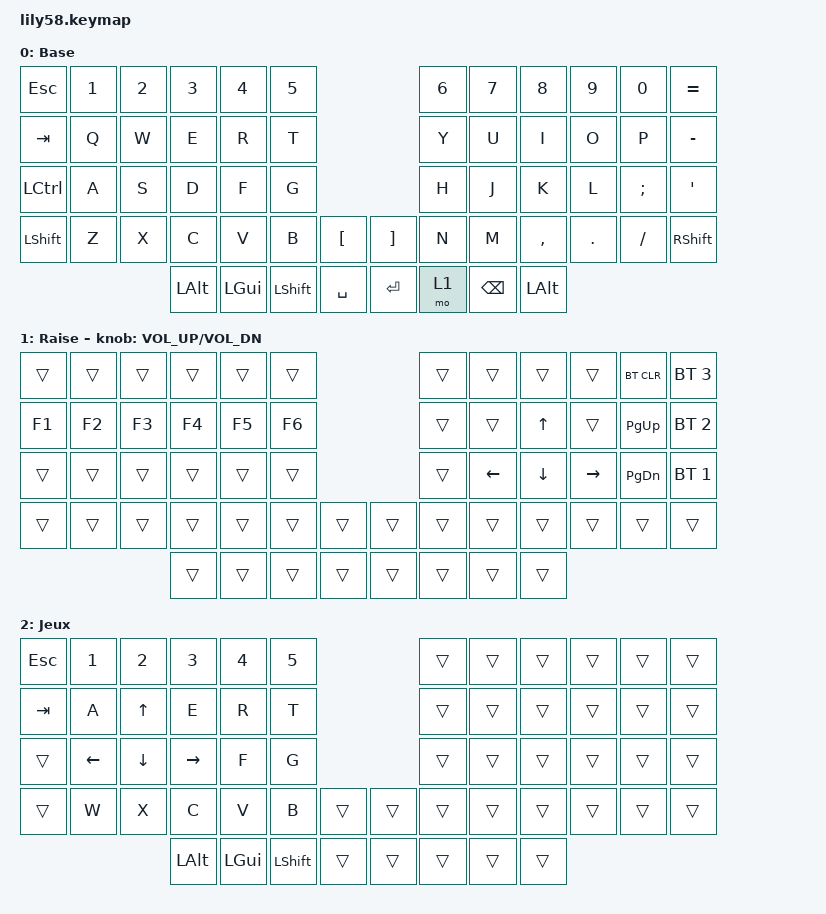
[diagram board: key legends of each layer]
/*
 * Copyright (c) 2020 The ZMK Contributors
 *
 * SPDX-License-Identifier: MIT
 */

#include <behaviors.dtsi>
#include <dt-bindings/zmk/bt.h>
#include <dt-bindings/zmk/keys.h>

/ {
    combos {
        compatible = "zmk,combos";

        Desactivedefaut {
            bindings = <&tog 0>;
            key-positions = <56 55 57>;
        };

        Activejeux {
            bindings = <&tog 2>;
            key-positions = <57 56 55 54>;
        };
    };

    behaviors {
        Nav: Nav {
            compatible = "zmk,behavior-tap-dance";
            label = "NAV";
            #binding-cells = <0>;
            bindings = <&kp LEFT_SHIFT>, <&sl 1>;

            tapping-term-ms = <200>;
        };
    };

    keymap {
        compatible = "zmk,keymap";

        default_layer {
            // ------------------------------------------------------------------------------------------------------------
            // |  ESC  |  1  |  2  |  3   |  4   |  5   |                   |  6   |  7    |  8    |  9   |   0   |   `   |
            // |  TAB  |  Q  |  W  |  E   |  R   |  T   |                   |  Y   |  U    |  I    |  O   |   P   |   -   |
            // |  CTRL |  A  |  S  |  D   |  F   |  G   |                   |  H   |  J    |  K    |  L   |   ;   |   '   |
            // | SHIFT |  Z  |  X  |  C   |  V   |  B   |   "["  |  |  "]"  |  N   |  M    |  ,    |  .   |   /   | SHIFT |
            //                     | ALT  | GUI  | LOWER|  SPACE |  | ENTER | RAISE| BSPC  | GUI   |

            display-name = "Base";
            bindings = <
&kp ESC           &kp N1  &kp N2  &kp N3        &kp N4    &kp N5                                 &kp N6  &kp N7    &kp N8        &kp N9   &kp N0    &kp EQUAL
&kp TAB           &kp Q   &kp W   &kp E         &kp R     &kp T                                  &kp Y   &kp U     &kp I         &kp O    &kp P     &kp MINUS
&kp LEFT_CONTROL  &kp A   &kp S   &kp D         &kp F     &kp G                                  &kp H   &kp J     &kp K         &kp L    &kp SEMI  &kp SQT
&kp LEFT_SHIFT    &kp Z   &kp X   &kp C         &kp V     &kp B           &kp LBKT     &kp RBKT  &kp N   &kp M     &kp COMMA     &kp DOT  &kp FSLH  &kp RSHFT
                                  &kp LEFT_ALT  &kp LGUI  &kp LEFT_SHIFT  &kp SPACE    &kp RET   &mo 1   &kp BSPC  &kp LEFT_ALT
            >;
        };

        raise_layer {
            // ------------------------------------------------------------------------------------------------------------
            // |       |     |     |      |      |      |                   |      |       |       |      |       |       |
            // |   `   |  1  |  2  |  3   |  4   |  5   |                   |  6   |   7   |   8   |  9   |   0   |       |
            // |   F1  |  F2 |  F3 |  F4  |  F5  |  F6  |                   |      |   <-  |   v   |  ^   |  ->   |       |
            // |   F7  |  F8 |  F9 |  F10 |  F11 |  F12 |        |  |       |  +   |   -   |   =   |  [   |   ]   |   \   |
            //                     |      |      |      |        |  |       |      |       |       |

            display-name = "Raise";
            bindings = <
&trans  &trans  &trans  &trans  &trans  &trans                    &trans  &trans    &trans        &trans           &bt BT_CLR     &bt BT_SEL 3
&kp F1  &kp F2  &kp F3  &kp F4  &kp F5  &kp F6                    &trans  &trans    &kp UP_ARROW  &trans           &kp PAGE_UP    &bt BT_SEL 2
&trans  &trans  &trans  &trans  &trans  &trans                    &trans  &kp LEFT  &kp DOWN      &kp RIGHT_ARROW  &kp PAGE_DOWN  &bt BT_SEL 1
&trans  &trans  &trans  &trans  &trans  &trans  &trans    &trans  &trans  &trans    &trans        &trans           &trans         &trans
                        &trans  &trans  &trans  &trans    &trans  &trans  &trans    &trans
            >;

            sensor-bindings = <&inc_dec_kp C_VOL_UP C_VOL_DN>;
        };

        Jeux {
            bindings = <
&kp ESC  &kp N1    &kp N2        &kp N3     &kp N4    &kp N5                            &trans  &trans  &trans  &trans  &trans  &trans
&kp TAB  &kp A     &kp UP_ARROW  &kp E      &kp R     &kp T                             &trans  &trans  &trans  &trans  &trans  &trans
&trans   &kp LEFT  &kp DOWN      &kp RIGHT  &kp F     &kp G                             &trans  &trans  &trans  &trans  &trans  &trans
&trans   &kp W     &kp X         &kp C      &kp V     &kp B           &trans    &trans  &trans  &trans  &trans  &trans  &trans  &trans
                                 &kp LALT   &kp LGUI  &kp LEFT_SHIFT  &trans    &trans  &trans  &trans  &trans
            >;
        };
    };
};
